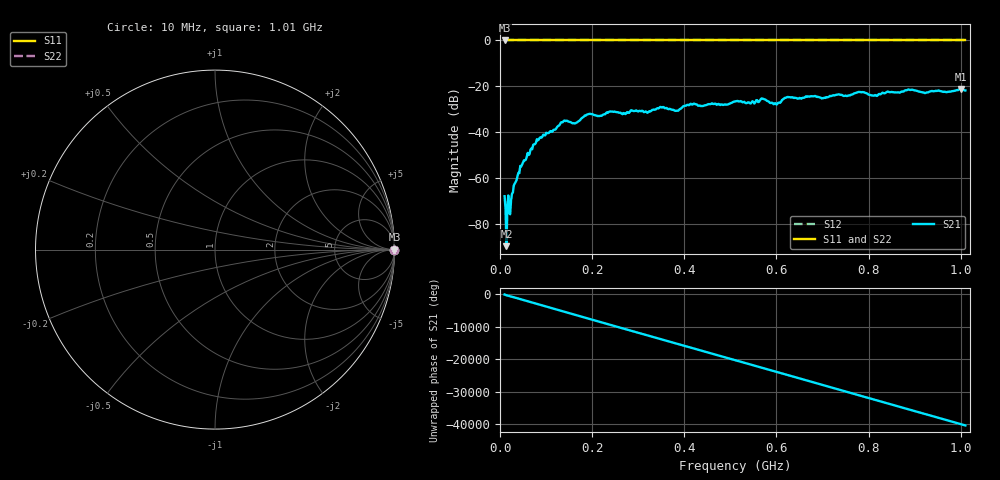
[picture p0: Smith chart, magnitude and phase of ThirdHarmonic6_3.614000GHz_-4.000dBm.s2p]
! 8/17/2025 12:04:45 PM
! C:\ANRITSUVNA\TEMP\TEMP.S2P
! CHANNEL.1
! TR.MEASUREMENT
! RAW.DATA
! RF.CORRECTION.OFF
! AVERAGING.OFF
! IF.BANDWIDTH: 5KHZ
! SWEEPTYPE:  FREQ.SWEEP(Linear)
! Reference Plane Port Info
! PORT:  PORT1  PORT2
! DISTANCE:  0  m  0  m
! TIME:  0  s  0  s
! PHASE.OFFSET:  0  deg.  0  deg.
! LOSS:  0  dB  0  dB
! REF.LOSS:  0  dB  0  dB
! REF.FREQ:  0  Hz  0  Hz
! Power Info
! POWER:  -20  dBm  -20  dBm
! EFF.POWER:  -20  dBm  -20  dBm
! SOURCE.ATTEN:  0  dB  0  dB
! TEST.ATTEN:  0  dB  0  dB
# GHZ S RI R 50.0
! FREQ.GHZ  S11RE  S11IM  S21RE  S21IM  S12RE  S12IM  S22RE  S22IM
!; PortSelection: Port_12
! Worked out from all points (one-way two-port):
!   501 points, 10 MHz to 1.01 GHz, reference 50 ohm
!   highest |S21| = -21.19 dB at 1 GHz (marker M1); lowest = -89.9 dB at 14 MHz (marker M2)
!   lowest |S11| = 0.0 dB at 10 MHz (marker M3)
!   |S11| at or under -10 dB: nowhere
!   |S22| runs from 0.0 to 0.0 dB; largest |S21 - S12| = 1.1
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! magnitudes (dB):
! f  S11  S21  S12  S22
! 10 MHz  0.0  -68.0  0.0  0.0
! 14 MHz  0.0  -89.9  0.0  0.0
! 18 MHz  0.0  -67.7  0.0  0.0
! 24 MHz  0.0  -69.8  0.0  0.0
! 30 MHz  0.0  -63.3  0.0  0.0
! 42 MHz  0.0  -57.9  0.0  0.0
! 76 MHz  0.0  -45.3  0.0  0.0
! 136 MHz  0.0  -35.7  0.0  0.0
! 162 MHz  0.0  -36.3  0.0  0.0
! 178 MHz  0.0  -33.9  0.0  0.0
! 194 MHz  0.0  -32.1  0.0  0.0
! 344 MHz  0.0  -29.7  0.0  0.0
! 384 MHz  0.0  -30.7  0.0  0.0
! 418 MHz  0.0  -28.0  0.0  0.0
! 510 MHz  0.0  -26.6  0.0  0.0
! 570 MHz  0.0  -25.4  0.0  0.0
! 598 MHz  0.0  -27.4  0.0  0.0
! 622 MHz  0.0  -24.8  0.0  0.0
! 678 MHz  0.0  -24.4  0.0  0.0
! 844 MHz  0.0  -22.5  0.0  0.0
! 1 GHz  0.0  -21.2  0.0  0.0
! 1.01 GHz  0.0  -21.8  0.0  0.0
